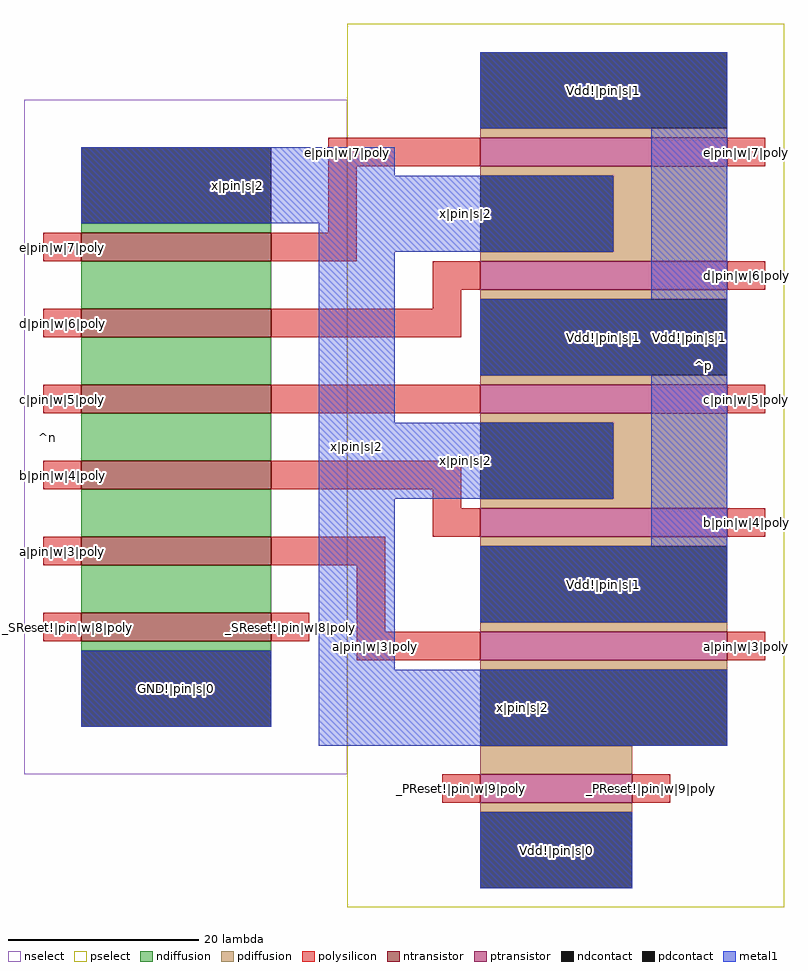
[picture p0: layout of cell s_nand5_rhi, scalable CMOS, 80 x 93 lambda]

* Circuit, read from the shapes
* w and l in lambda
.subckt s_nand5_rhi GND!|pin|s|0 Vdd!|pin|s|0 Vdd!|pin|s|1 _PReset!|pin|w|9|poly _SReset!|pin|w|8|poly a|pin|w|3|poly b|pin|w|4|poly c|pin|w|5|poly d|pin|w|6|poly e|pin|w|7|poly x|pin|s|2
M1 n1 _SReset!|pin|w|8|poly GND!|pin|s|0 VSUBS nfet w=20 l=3
M2 n2 a|pin|w|3|poly n1 VSUBS nfet w=20 l=3
M3 n3 b|pin|w|4|poly n2 VSUBS nfet w=20 l=3
M4 n4 c|pin|w|5|poly n3 VSUBS nfet w=20 l=3
M5 n5 d|pin|w|6|poly n4 VSUBS nfet w=20 l=3
M6 x|pin|s|2 e|pin|w|7|poly n5 VSUBS nfet w=20 l=3
M7 x|pin|s|2 _PReset!|pin|w|9|poly Vdd!|pin|s|0 NWELL pfet w=16 l=3
M8 Vdd!|pin|s|1 a|pin|w|3|poly x|pin|s|2 NWELL pfet w=26 l=3
M9 x|pin|s|2 b|pin|w|4|poly Vdd!|pin|s|1 NWELL pfet w=26 l=3
M10 Vdd!|pin|s|1 c|pin|w|5|poly x|pin|s|2 NWELL pfet w=26 l=3
M11 x|pin|s|2 d|pin|w|6|poly Vdd!|pin|s|1 NWELL pfet w=26 l=3
M12 Vdd!|pin|s|1 e|pin|w|7|poly x|pin|s|2 NWELL pfet w=26 l=3
.ends

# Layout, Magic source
magic
tech scmos
<< nselect >>
rect -34 24 0 95
<< pselect >>
rect 0 10 46 103
<< ndiffusion >>
rect -28 81 -8 82
rect -28 73 -8 78
rect -28 65 -8 70
rect -28 57 -8 62
rect -28 49 -8 54
rect -28 41 -8 46
rect -28 37 -8 38
<< pdiffusion >>
rect 14 91 40 92
rect 14 87 40 88
rect 28 79 40 87
rect 14 78 40 79
rect 14 74 40 75
rect 14 65 40 66
rect 14 61 40 62
rect 28 53 40 61
rect 14 52 40 53
rect 14 48 40 49
rect 14 39 40 40
rect 14 35 40 36
rect 14 24 30 27
rect 14 20 30 21
<< ntransistor >>
rect -28 78 -8 81
rect -28 70 -8 73
rect -28 62 -8 65
rect -28 54 -8 57
rect -28 46 -8 49
rect -28 38 -8 41
<< ptransistor >>
rect 14 88 40 91
rect 14 75 40 78
rect 14 62 40 65
rect 14 49 40 52
rect 14 36 40 39
rect 14 21 30 24
<< polysilicon >>
rect -2 88 14 91
rect 40 88 44 91
rect -2 81 1 88
rect -32 78 -28 81
rect -8 78 1 81
rect 9 75 14 78
rect 40 75 44 78
rect 9 73 12 75
rect -32 70 -28 73
rect -8 70 12 73
rect -32 62 -28 65
rect -8 62 14 65
rect 40 62 44 65
rect -32 54 -28 57
rect -8 54 12 57
rect 9 52 12 54
rect 9 49 14 52
rect 40 49 44 52
rect -32 46 -28 49
rect -8 46 4 49
rect -32 38 -28 41
rect -8 38 -4 41
rect 1 39 4 46
rect 1 36 14 39
rect 40 36 44 39
rect 10 21 14 24
rect 30 21 34 24
<< ndcontact >>
rect -28 82 -8 90
rect -28 29 -8 37
<< pdcontact >>
rect 14 92 40 100
rect 14 79 28 87
rect 14 66 40 74
rect 14 53 28 61
rect 14 40 40 48
rect 14 27 40 35
rect 14 12 30 20
<< metal1 >>
rect 14 92 40 100
rect -28 87 5 90
rect -28 82 28 87
rect -3 79 28 82
rect -3 61 5 79
rect 32 74 40 92
rect 14 66 40 74
rect -3 53 28 61
rect -28 29 -8 37
rect -3 35 5 53
rect 32 48 40 66
rect 14 40 40 48
rect -3 27 40 35
rect 14 12 30 20
<< labels >>
rlabel space -35 23 -28 96 7 ^n
rlabel space 28 31 47 103 3 ^p
rlabel metal1 -28 29 -8 37 1 GND!|pin|s|0
rlabel metal1 14 66 40 74 1 Vdd!|pin|s|1
rlabel metal1 32 40 40 100 1 Vdd!|pin|s|1
rlabel metal1 -3 27 5 90 1 x|pin|s|2
rlabel metal1 -28 82 5 90 1 x|pin|s|2
rlabel metal1 -3 79 28 87 1 x|pin|s|2
rlabel metal1 -3 53 28 61 1 x|pin|s|2
rlabel metal1 -3 27 40 35 1 x|pin|s|2
rlabel polysilicon 40 36 44 39 1 a|pin|w|3|poly
rlabel polysilicon 1 36 5 39 1 a|pin|w|3|poly
rlabel polysilicon -32 46 -28 49 1 a|pin|w|3|poly
rlabel polysilicon 40 49 44 52 1 b|pin|w|4|poly
rlabel polysilicon -32 54 -28 57 1 b|pin|w|4|poly
rlabel polysilicon 40 62 44 65 1 c|pin|w|5|poly
rlabel polysilicon -32 62 -28 65 1 c|pin|w|5|poly
rlabel polysilicon 40 75 44 78 1 d|pin|w|6|poly
rlabel polysilicon -32 70 -28 73 1 d|pin|w|6|poly
rlabel polysilicon 40 88 44 91 1 e|pin|w|7|poly
rlabel polysilicon -2 88 2 91 1 e|pin|w|7|poly
rlabel polysilicon -32 78 -28 81 1 e|pin|w|7|poly
rlabel polysilicon -32 38 -28 41 1 _SReset!|pin|w|8|poly
rlabel polysilicon -8 38 -4 41 1 _SReset!|pin|w|8|poly
rlabel polysilicon 10 21 14 24 1 _PReset!|pin|w|9|poly
rlabel polysilicon 30 21 34 24 1 _PReset!|pin|w|9|poly
rlabel metal1 14 92 40 100 1 Vdd!|pin|s|1
rlabel metal1 14 40 40 48 1 Vdd!|pin|s|1
rlabel metal1 14 12 30 20 1 Vdd!|pin|s|0
<< end >>
